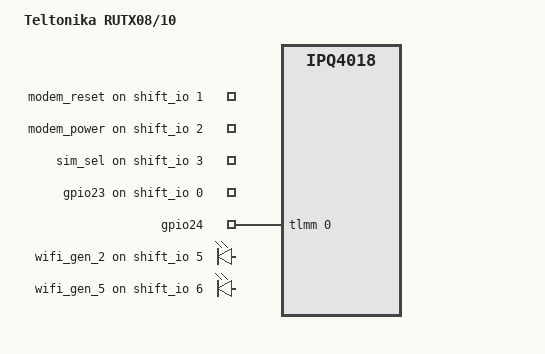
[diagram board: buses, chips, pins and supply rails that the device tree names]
#include "qcom-ipq4018-rutx-common.dtsi"
#include "qcom-ipq4018-rutx-shiftreg.dtsi"

/ {
	model = "Teltonika RUTX08/10";

	soc {
		gpio-export {
			compatible = "gpio-export";
			#size-cells = <0>;

			gpio_modem_reset {
				gpio-export,name = "modem_reset";
				gpio-export,output = <0>;
				gpios = <&shift_io 1 GPIO_ACTIVE_HIGH>;
			};

			gpio_modem_power {
				gpio-export,name = "modem_power";
				gpio-export,output = <0>;
				gpios = <&shift_io 2 GPIO_ACTIVE_HIGH>;
			};

			gpio_sim_select {
				gpio-export,name = "sim_sel";
				gpio-export,output = <1>;
				gpios = <&shift_io 3 GPIO_ACTIVE_HIGH>;
			};

			gpio_out_1 {
				gpio-export,name = "gpio23";
				gpio-export,output = <0>;
				gpios = <&shift_io 0 GPIO_ACTIVE_HIGH>;
			};

			gpio_in_1 {
				gpio-export,name = "gpio24";
				gpio-export,input = <0>;
				gpios = <&tlmm 0 GPIO_ACTIVE_HIGH>;
			};
		};

		leds {
			compatible = "gpio-leds";

			led_wifi_24 {
				label = "wifi_gen_2";
				gpios = <&shift_io 5 GPIO_ACTIVE_HIGH>;
			};

			led_wifi_50 {
				label = "wifi_gen_5";
				gpios = <&shift_io 6 GPIO_ACTIVE_HIGH>;
			};
		};
	};
};
